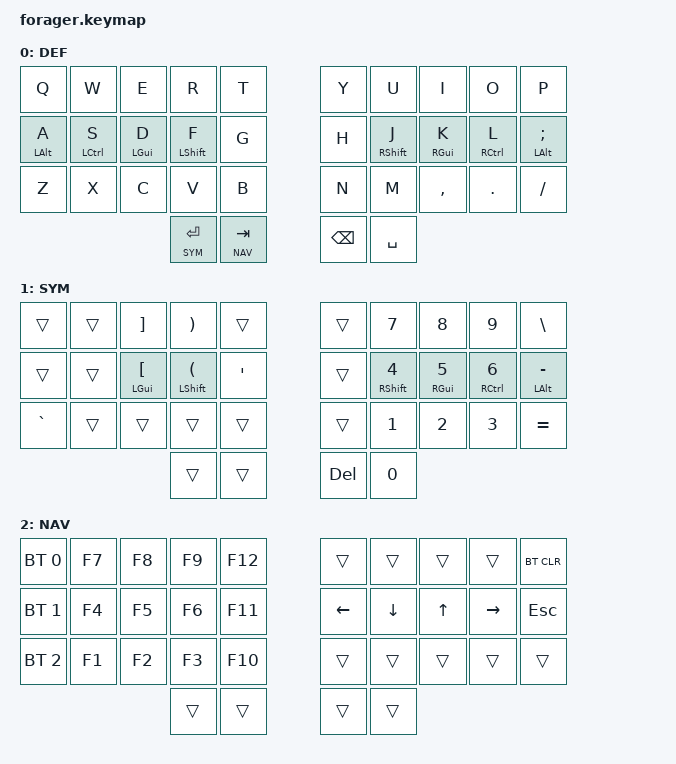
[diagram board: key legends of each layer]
#include <behaviors.dtsi>
#include <dt-bindings/zmk/keys.h>
#include <dt-bindings/zmk/bt.h>

#define BASE 0
#define SYM  1
#define NAV  2

/*
 * Copyright (c) 2020 The ZMK Contributors
 *
 * SPDX-License-Identifier: MIT
 */

&lt {
    quick-tap-ms = <200>;
    tapping-term-ms = <200>;
    flavor = "balanced";
};

&mt {
    quick-tap-ms = <200>;
    tapping-term-ms = <200>;
    flavor = "balanced";
};

/ {
    combos {
        compatible = "zmk,combos";

        both_shifts_caps_word {
            bindings = <&caps_word>;
            key-positions = <13 16>;
            layers = <0>;
            timeout-ms = <150>;
        };
    };

    keymap {
        compatible = "zmk,keymap";

        default_layer {
            label = "DEF";
            bindings = <
  &kp Q                  &kp W                   &kp E                   &kp R                     &kp T                          &kp Y    &kp U                     &kp I                   &kp O                   &kp P
  &mt LEFT_ALT A         &mt LEFT_CONTROL S      &mt LEFT_GUI D          &mt LEFT_SHIFT F          &kp G                          &kp H    &mt RIGHT_SHIFT J         &mt RIGHT_GUI K         &mt RIGHT_CONTROL L     &mt LEFT_ALT SEMICOLON
  &kp Z                  &kp X                   &kp C                   &kp V                     &kp B                          &kp N    &kp M                     &kp COMMA               &kp DOT                 &kp SLASH
                                                 &lt SYM ENTER           &lt NAV TAB               &kp BACKSPACE                  &kp SPACE
            >;
        };

        symbols_layer {
            label = "SYM";
            bindings = <
  &trans         &trans         &kp RIGHT_BRACKET  &kp RIGHT_PARENTHESIS           &trans         &trans  &kp NUMBER_7            &kp NUMBER_8            &kp NUMBER_9             &kp BACKSLASH
  &trans         &trans         &mt LEFT_GUI LEFT_BRACKET  &mt LEFT_SHIFT LEFT_PARENTHESIS  &kp APOSTROPHE  &trans  &mt RIGHT_SHIFT NUMBER_4  &mt RIGHT_GUI NUMBER_5  &mt RIGHT_CONTROL NUMBER_6  &mt LEFT_ALT MINUS
  &kp GRAVE      &trans         &trans             &trans                          &trans         &trans  &kp NUMBER_1            &kp NUMBER_2            &kp NUMBER_3             &kp EQUAL
                                &trans             &trans                          &kp DELETE     &kp NUMBER_0
            >;
        };

        nav_layer {
            label = "NAV";
            bindings = <
  &bt BT_SEL 0  &kp F7  &kp F8  &kp F9  &kp F12   &trans    &trans    &trans   &trans    &bt BT_CLR
  &bt BT_SEL 1  &kp F4  &kp F5  &kp F6  &kp F11   &kp LEFT  &kp DOWN  &kp UP   &kp RIGHT &kp ESCAPE
  &bt BT_SEL 2  &kp F1  &kp F2  &kp F3  &kp F10   &trans    &trans    &trans   &trans    &trans
                  &trans  &trans  &trans   &trans
            >;
        };
    };
};
